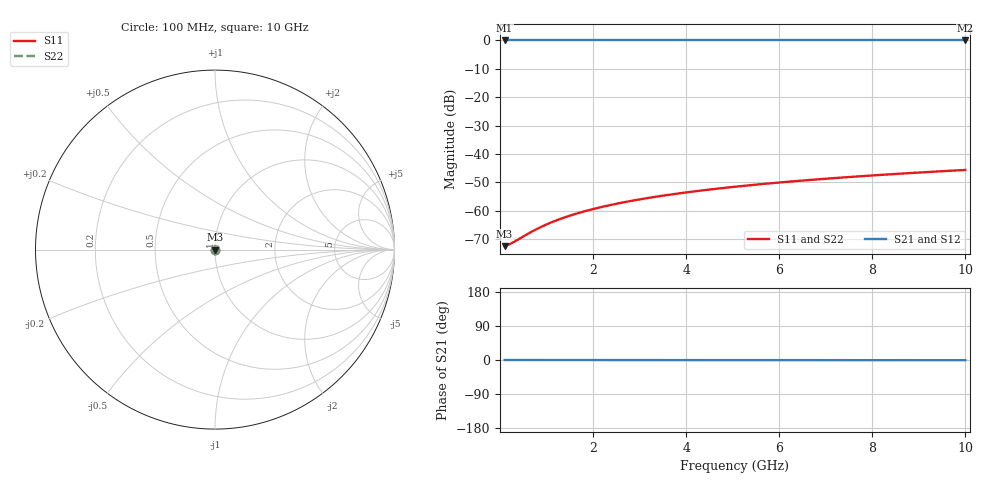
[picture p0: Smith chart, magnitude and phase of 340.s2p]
# Hz S RI R 50.00
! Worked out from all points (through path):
!   100 points, 100 MHz to 10 GHz, reference 50 ohm
!   highest |S21| = 0.00 dB at 100 MHz (marker M1); lowest = 0.0 dB at 10 GHz (marker M2)
!   lowest |S11| = -72.4 dB at 100 MHz (marker M3), VSWR 1.00, Z = 50 + j0.00524 ohm
!   |S11| at or under -10 dB: start of sweep to end of sweep
!   |S22| runs from -72.4 to -45.6 dB; largest |S21 - S12| = 1e-15
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1e8  0.000233 5.24e-05  0.9998 -9.16e-05  0.9998 -9.16e-05  0.000233 5.24e-05
2e8  0.000235 0.000105  0.9998 -0.000183  0.9998 -0.000183  0.000235 0.000105
3e8  0.000236 0.000157  0.9998 -0.000275  0.9998 -0.000275  0.000236 0.000157
7e8  0.000239 0.000367  0.9998 -0.000641  0.9998 -0.000641  0.000239 0.000367
8e8  0.00024 0.000419  0.9998 -0.000733  0.9998 -0.000733  0.00024 0.000419
1e9  0.000241 0.000524  0.9998 -0.000916  0.9998 -0.000916  0.000241 0.000524
1.2e9  0.000242 0.000629  0.9998 -0.0011  0.9998 -0.0011  0.000242 0.000629
1.4e9  0.000243 0.000733  0.9998 -0.00128  0.9998 -0.00128  0.000243 0.000733
1.6e9  0.000244 0.000838  0.9998 -0.00147  0.9998 -0.00147  0.000244 0.000838
1.8e9  0.000245 0.000943  0.9998 -0.00165  0.9998 -0.00165  0.000245 0.000943
2.1e9  0.000247 0.0011  0.9998 -0.00192  0.9998 -0.00192  0.000247 0.0011
2.5e9  0.000249 0.00131  0.9997 -0.00229  0.9997 -0.00229  0.000249 0.00131
2.9e9  0.000251 0.00152  0.9997 -0.00266  0.9997 -0.00266  0.000251 0.00152
3.4e9  0.000253 0.00178  0.9997 -0.00311  0.9997 -0.00311  0.000253 0.00178
3.8e9  0.000256 0.00199  0.9997 -0.00348  0.9997 -0.00348  0.000256 0.00199
4.2e9  0.000258 0.0022  0.9997 -0.00385  0.9997 -0.00385  0.000258 0.0022
5.1e9  0.000264 0.00267  0.9997 -0.00467  0.9997 -0.00467  0.000264 0.00267
5.9e9  0.00027 0.00309  0.9997 -0.00541  0.9997 -0.00541  0.00027 0.00309
6.7e9  0.000276 0.00351  0.9997 -0.00614  0.9997 -0.00614  0.000276 0.00351
7.5e9  0.000283 0.00393  0.9997 -0.00688  0.9997 -0.00688  0.000283 0.00393
8.4e9  0.000292 0.0044  0.9997 -0.0077  0.9997 -0.0077  0.000292 0.0044
1e10  0.000309 0.00524  0.9997 -0.00917  0.9997 -0.00917  0.000309 0.00524
